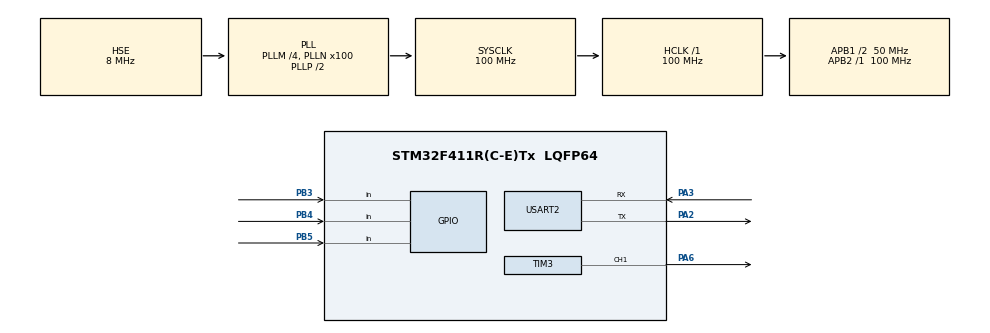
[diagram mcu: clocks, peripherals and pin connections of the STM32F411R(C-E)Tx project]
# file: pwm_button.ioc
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Mcu.Family=STM32F4
Mcu.Name=STM32F411R(C-E)Tx
Mcu.Package=LQFP64
NVIC.PriorityGroup=NVIC_PRIORITYGROUP_4
NVIC.USART2_IRQn=true\:0\:0\:false\:false\:true\:true\:true\:true
PA13.Mode=Serial_Wire
PA13.Signal=SYS_JTMS-SWDIO
PA14.Mode=Serial_Wire
PA14.Signal=SYS_JTCK-SWCLK
PA2.Mode=Asynchronous
PA2.Signal=USART2_TX
PA3.Mode=Asynchronous
PA3.Signal=USART2_RX
PA6.Signal=S_TIM3_CH1
PB3.Signal=GPIO_Input
PB4.Signal=GPIO_Input
PB5.Signal=GPIO_Input
PH0\ -\ OSC_IN.Mode=HSE-External-Oscillator
PH0\ -\ OSC_IN.Signal=RCC_OSC_IN
PH1\ -\ OSC_OUT.Mode=HSE-External-Oscillator
PH1\ -\ OSC_OUT.Signal=RCC_OSC_OUT
ProjectManager.HeapSize=0x200
ProjectManager.StackSize=0x400
ProjectManager.TargetToolchain=STM32CubeIDE
RCC.48MHZClocksFreq_Value=50000000
RCC.AHBFreq_Value=100000000
RCC.APB1CLKDivider=RCC_HCLK_DIV2
RCC.APB1Freq_Value=50000000
RCC.APB1TimFreq_Value=100000000
RCC.APB2Freq_Value=100000000
RCC.APB2TimFreq_Value=100000000
RCC.CortexFreq_Value=100000000
RCC.HCLKFreq_Value=100000000
RCC.HSE_VALUE=8000000
RCC.HSI_VALUE=16000000
RCC.LSE_VALUE=32768
RCC.PLLM=4
RCC.PLLN=100
RCC.PLLSourceVirtual=RCC_PLLSOURCE_HSE
RCC.SYSCLKFreq_VALUE=100000000
RCC.SYSCLKSource=RCC_SYSCLKSOURCE_PLLCLK
RCC.VCOOutputFreq_Value=200000000
SH.S_TIM3_CH1.0=TIM3_CH1,PWM Generation1 CH1
TIM3.Channel-PWM\ Generation1\ CH1=TIM_CHANNEL_1
TIM3.Period=500-1
TIM3.Prescaler=500-1
USART2.VirtualMode=VM_ASYNC
VP_TIM3_VS_ClockSourceINT.Mode=Internal
board=custom

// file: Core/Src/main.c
/* USER CODE BEGIN Header */
/**
  ******************************************************************************
  * @file           : main.c
  * @brief          : Main program body
  ******************************************************************************
  * @attention
  *
  * Copyright (c) 2023 STMicroelectronics.
  * All rights reserved.
  *
  * This software is licensed under terms that can be found in the LICENSE file
  * in the root directory of this software component.
  * If no LICENSE file comes with this software, it is provided AS-IS.
  *
  ******************************************************************************
  */
/* USER CODE END Header */
#include "main.h"
#include "tim.h"
#include "usart.h"
#include "gpio.h"

/* USER CODE BEGIN Includes */

#include "buttonpwm.h"

/* USER CODE END Includes */

/* USER CODE BEGIN PV */
  uint8_t rxData;
  uint8_t dutyValue;
/* USER CODE END PV */

void SystemClock_Config(void);
/* USER CODE BEGIN PFP */
void HAL_UART_RxCpltCallback(UART_HandleTypeDef *huart)
{
  if(huart->Instance==USART2)
  {
    HAL_UART_Receive_IT(&huart2, &rxData, sizeof(rxData));
    HAL_UART_Transmit_IT(&huart2, &rxData, sizeof(rxData));
  }
}
/* USER CODE END PFP */

int main(void)
{
  /* USER CODE BEGIN 1 */

  Button shift1, shift2, shift3;     // define static variable
  //Button toggle;

  /* USER CODE END 1 */

  /* MCU Configuration--------------------------------------------------------*/

  /* Reset of all peripherals, Initializes the Flash interface and the Systick. */
  HAL_Init();

  /* USER CODE BEGIN Init */

  Button_Init(&shift1, GPIOB, GPIO_PIN_3);
  Button_Init(&shift2, GPIOB, GPIO_PIN_5);
  Button_Init(&shift3, GPIOB, GPIO_PIN_4);
  //Button_Init(&toggle, GPIOA, GPIO_PIN_7);

  /* USER CODE END Init */

  /* Configure the system clock */
  SystemClock_Config();

  /* Initialize all configured peripherals */
  MX_GPIO_Init();
  MX_TIM3_Init();
  MX_USART2_UART_Init();
  /* USER CODE BEGIN 2 */
  HAL_TIM_PWM_Start(&htim3, TIM_CHANNEL_1);
  HAL_UART_Receive_IT(&huart2, &rxData, sizeof(rxData));

  /* USER CODE END 2 */

  /* Infinite loop */
  while (1)
  {

    /* USER CODE BEGIN 3 */

//    if(!(HAL_GPIO_ReadPin(GPIOC, GPIO_PIN_3)))
//    {
//      TIM3->CCR1=0;
//    }
    if (rxData == 'a' || rxData == 'b' || rxData == 'c')
    {
      dutyValue = rxData;

      switch (dutyValue)
      {
        case 'a':
          TIM3->CCR1 = 0;
          break;

        case 'b':
          TIM3->CCR1 = 250;
          break;

        case 'c':
          TIM3->CCR1 = 499;
          break;
      }
    }
//
    if(Button_getState(&shift1) == ACT_PUSHED)
    {
      TIM3->CCR1=0;
    }

    if(Button_getState(&shift2) == ACT_PUSHED)
    {
      TIM3->CCR1=250;
    }
    if(Button_getState(&shift3) == ACT_PUSHED)
    {
      TIM3->CCR1=499;
    }

  }
  /* USER CODE END 3 */
}

void SystemClock_Config(void)
{
  RCC_OscInitTypeDef RCC_OscInitStruct = {0};
  RCC_ClkInitTypeDef RCC_ClkInitStruct = {0};

  /** Configure the main internal regulator output voltage
  */
  __HAL_RCC_PWR_CLK_ENABLE();
  __HAL_PWR_VOLTAGESCALING_CONFIG(PWR_REGULATOR_VOLTAGE_SCALE1);

  /** Initializes the RCC Oscillators according to the specified parameters
  * in the RCC_OscInitTypeDef structure.
  */
  RCC_OscInitStruct.OscillatorType = RCC_OSCILLATORTYPE_HSE;
  RCC_OscInitStruct.HSEState = RCC_HSE_ON;
  RCC_OscInitStruct.PLL.PLLState = RCC_PLL_ON;
  RCC_OscInitStruct.PLL.PLLSource = RCC_PLLSOURCE_HSE;
  RCC_OscInitStruct.PLL.PLLM = 4;
  RCC_OscInitStruct.PLL.PLLN = 100;
  RCC_OscInitStruct.PLL.PLLP = RCC_PLLP_DIV2;
  RCC_OscInitStruct.PLL.PLLQ = 4;
  if (HAL_RCC_OscConfig(&RCC_OscInitStruct) != HAL_OK)
  {
    Error_Handler();
  }

  /** Initializes the CPU, AHB and APB buses clocks
  */
  RCC_ClkInitStruct.ClockType = RCC_CLOCKTYPE_HCLK|RCC_CLOCKTYPE_SYSCLK
                              |RCC_CLOCKTYPE_PCLK1|RCC_CLOCKTYPE_PCLK2;
  RCC_ClkInitStruct.SYSCLKSource = RCC_SYSCLKSOURCE_PLLCLK;
  RCC_ClkInitStruct.AHBCLKDivider = RCC_SYSCLK_DIV1;
  RCC_ClkInitStruct.APB1CLKDivider = RCC_HCLK_DIV2;
  RCC_ClkInitStruct.APB2CLKDivider = RCC_HCLK_DIV1;

  if (HAL_RCC_ClockConfig(&RCC_ClkInitStruct, FLASH_LATENCY_3) != HAL_OK)
  {
    Error_Handler();
  }
}

void Error_Handler(void)
{
  __disable_irq();
  while (1)
  {
  }
}
